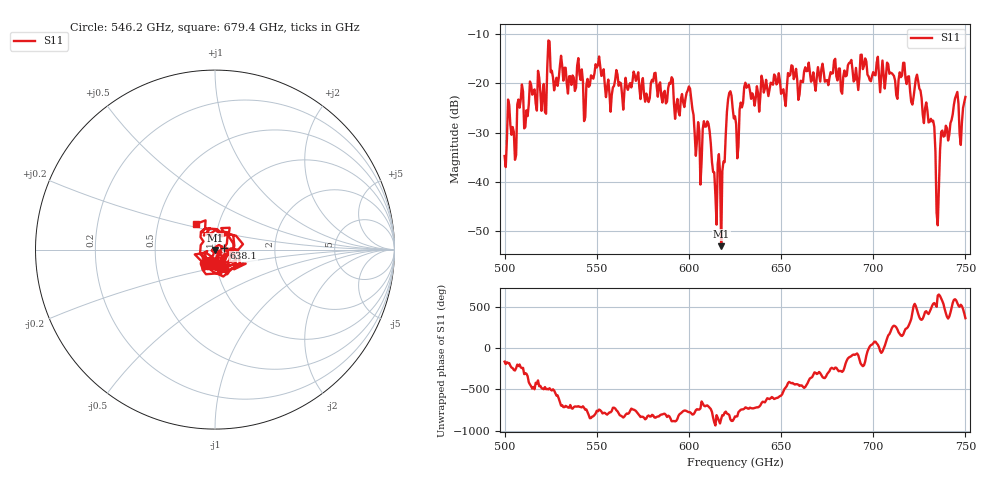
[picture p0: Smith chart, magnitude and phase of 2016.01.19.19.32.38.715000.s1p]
!Created with skrf (http://scikit-rf.org).
# GHz S RI R 50.0
!freq ReS11 ImS11
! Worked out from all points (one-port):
!   401 points, 500 GHz to 750 GHz, reference 50 ohm
!   lowest |S11| = -53.1 dB at 617.5 GHz (marker M1), VSWR 1.00, Z = 49.8 - j0.149 ohm
!   |S11| at or under -10 dB: start of sweep to end of sweep
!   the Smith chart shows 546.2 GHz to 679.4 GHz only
!   S11 on the Smith chart (normalised r, x): 546.2 GHz: 0.87, -0.13; 638.1 GHz: 1.11, +0.02; 679.4 GHz: 0.78, +0.23
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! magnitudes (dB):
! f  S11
! 500 GHz  -34.8
! 508.8 GHz  -23.3
! 511.9 GHz  -25.5
! 515 GHz  -22.3
! 521.2 GHz  -20.1
! 524.4 GHz  -11.4
! 531.2 GHz  -16.4
! 546.2 GHz  -20.4
! 562.5 GHz  -19.8
! 590 GHz  -20.1
! 593.8 GHz  -23.2
! 600 GHz  -20.6
! 605 GHz  -27.9
! 609.4 GHz  -28.7
! 613.8 GHz  -38.1
! 617.5 GHz  -53.1
! 621.9 GHz  -21.9
! 625 GHz  -26.7
! 631.2 GHz  -20.9
! 638.1 GHz  -25.7
! 656.2 GHz  -16.5
! 679.4 GHz  -15.0
! 687.5 GHz  -15.7
! 718.8 GHz  -18.6
! 731.9 GHz  -27.7
! 735 GHz  -48.8
! 738.1 GHz  -30.8
! 750 GHz  -22.7
